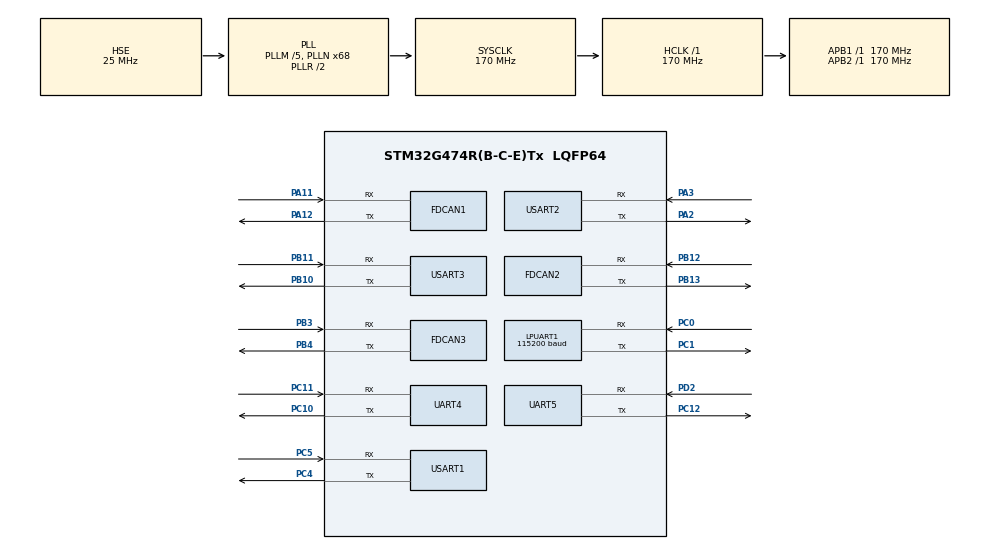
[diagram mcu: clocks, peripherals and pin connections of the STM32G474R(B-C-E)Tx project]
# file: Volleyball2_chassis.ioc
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Dma.LPUART1_RX.2.Direction=DMA_PERIPH_TO_MEMORY
Dma.LPUART1_RX.2.EventEnable=DISABLE
Dma.LPUART1_RX.2.Instance=DMA1_Channel5
Dma.LPUART1_RX.2.MemDataAlignment=DMA_MDATAALIGN_BYTE
Dma.LPUART1_RX.2.MemInc=DMA_MINC_ENABLE
Dma.LPUART1_RX.2.Mode=DMA_NORMAL
Dma.LPUART1_RX.2.PeriphDataAlignment=DMA_PDATAALIGN_BYTE
Dma.LPUART1_RX.2.PeriphInc=DMA_PINC_DISABLE
Dma.LPUART1_RX.2.Polarity=HAL_DMAMUX_REQ_GEN_RISING
Dma.LPUART1_RX.2.Priority=DMA_PRIORITY_LOW
Dma.LPUART1_RX.2.RequestNumber=1
Dma.LPUART1_RX.2.SignalID=NONE
Dma.LPUART1_RX.2.SyncEnable=DISABLE
Dma.LPUART1_RX.2.SyncPolarity=HAL_DMAMUX_SYNC_NO_EVENT
Dma.LPUART1_RX.2.SyncRequestNumber=1
Dma.LPUART1_RX.2.SyncSignalID=NONE
Dma.LPUART1_TX.3.Direction=DMA_MEMORY_TO_PERIPH
Dma.LPUART1_TX.3.EventEnable=DISABLE
Dma.LPUART1_TX.3.Instance=DMA1_Channel6
Dma.LPUART1_TX.3.MemDataAlignment=DMA_MDATAALIGN_BYTE
Dma.LPUART1_TX.3.MemInc=DMA_MINC_ENABLE
Dma.LPUART1_TX.3.Mode=DMA_NORMAL
Dma.LPUART1_TX.3.PeriphDataAlignment=DMA_PDATAALIGN_BYTE
Dma.LPUART1_TX.3.PeriphInc=DMA_PINC_DISABLE
Dma.LPUART1_TX.3.Polarity=HAL_DMAMUX_REQ_GEN_RISING
Dma.LPUART1_TX.3.Priority=DMA_PRIORITY_LOW
Dma.LPUART1_TX.3.RequestNumber=1
Dma.LPUART1_TX.3.SignalID=NONE
Dma.LPUART1_TX.3.SyncEnable=DISABLE
Dma.LPUART1_TX.3.SyncPolarity=HAL_DMAMUX_SYNC_NO_EVENT
Dma.LPUART1_TX.3.SyncRequestNumber=1
Dma.LPUART1_TX.3.SyncSignalID=NONE
Dma.Request0=USART1_RX
Dma.Request1=USART1_TX
Dma.Request2=LPUART1_RX
Dma.Request3=LPUART1_TX
Dma.Request4=UART5_RX
Dma.Request5=USART3_RX
Dma.Request6=USART3_TX
Dma.Request7=UART4_RX
Dma.UART4_RX.7.Direction=DMA_PERIPH_TO_MEMORY
Dma.UART4_RX.7.EventEnable=DISABLE
Dma.UART4_RX.7.Instance=DMA1_Channel8
Dma.UART4_RX.7.MemDataAlignment=DMA_MDATAALIGN_BYTE
Dma.UART4_RX.7.MemInc=DMA_MINC_ENABLE
Dma.UART4_RX.7.Mode=DMA_NORMAL
Dma.UART4_RX.7.PeriphDataAlignment=DMA_PDATAALIGN_BYTE
Dma.UART4_RX.7.PeriphInc=DMA_PINC_DISABLE
Dma.UART4_RX.7.Polarity=HAL_DMAMUX_REQ_GEN_RISING
Dma.UART4_RX.7.Priority=DMA_PRIORITY_LOW
Dma.UART4_RX.7.RequestNumber=1
Dma.UART4_RX.7.SignalID=NONE
Dma.UART4_RX.7.SyncEnable=DISABLE
Dma.UART4_RX.7.SyncPolarity=HAL_DMAMUX_SYNC_NO_EVENT
Dma.UART4_RX.7.SyncRequestNumber=1
Dma.UART4_RX.7.SyncSignalID=NONE
Dma.UART5_RX.4.Direction=DMA_PERIPH_TO_MEMORY
Dma.UART5_RX.4.EventEnable=DISABLE
Dma.UART5_RX.4.Instance=DMA1_Channel1
Dma.UART5_RX.4.MemDataAlignment=DMA_MDATAALIGN_BYTE
Dma.UART5_RX.4.MemInc=DMA_MINC_ENABLE
Dma.UART5_RX.4.Mode=DMA_NORMAL
Dma.UART5_RX.4.PeriphDataAlignment=DMA_PDATAALIGN_BYTE
Dma.UART5_RX.4.PeriphInc=DMA_PINC_DISABLE
Dma.UART5_RX.4.Polarity=HAL_DMAMUX_REQ_GEN_RISING
Dma.UART5_RX.4.Priority=DMA_PRIORITY_LOW
Dma.UART5_RX.4.RequestNumber=1
Dma.UART5_RX.4.SignalID=NONE
Dma.UART5_RX.4.SyncEnable=DISABLE
Dma.UART5_RX.4.SyncPolarity=HAL_DMAMUX_SYNC_NO_EVENT
Dma.UART5_RX.4.SyncRequestNumber=1
Dma.UART5_RX.4.SyncSignalID=NONE
Dma.USART1_RX.0.Direction=DMA_PERIPH_TO_MEMORY
Dma.USART1_RX.0.EventEnable=DISABLE
Dma.USART1_RX.0.Instance=DMA1_Channel3
Dma.USART1_RX.0.MemDataAlignment=DMA_MDATAALIGN_BYTE
Dma.USART1_RX.0.MemInc=DMA_MINC_ENABLE
Dma.USART1_RX.0.Mode=DMA_NORMAL
Dma.USART1_RX.0.PeriphDataAlignment=DMA_PDATAALIGN_BYTE
Dma.USART1_RX.0.PeriphInc=DMA_PINC_DISABLE
Dma.USART1_RX.0.Polarity=HAL_DMAMUX_REQ_GEN_RISING
Dma.USART1_RX.0.Priority=DMA_PRIORITY_LOW
Dma.USART1_RX.0.RequestNumber=1
Dma.USART1_RX.0.SignalID=NONE
Dma.USART1_RX.0.SyncEnable=DISABLE
Dma.USART1_RX.0.SyncPolarity=HAL_DMAMUX_SYNC_NO_EVENT
Dma.USART1_RX.0.SyncRequestNumber=1
Dma.USART1_RX.0.SyncSignalID=NONE
Dma.USART1_TX.1.Direction=DMA_MEMORY_TO_PERIPH
Dma.USART1_TX.1.EventEnable=DISABLE
Dma.USART1_TX.1.Instance=DMA1_Channel4
Dma.USART1_TX.1.MemDataAlignment=DMA_MDATAALIGN_BYTE
Dma.USART1_TX.1.MemInc=DMA_MINC_ENABLE
Dma.USART1_TX.1.Mode=DMA_NORMAL
Dma.USART1_TX.1.PeriphDataAlignment=DMA_PDATAALIGN_BYTE
Dma.USART1_TX.1.PeriphInc=DMA_PINC_DISABLE
Dma.USART1_TX.1.Polarity=HAL_DMAMUX_REQ_GEN_RISING
Dma.USART1_TX.1.Priority=DMA_PRIORITY_LOW
Dma.USART1_TX.1.RequestNumber=1
Dma.USART1_TX.1.SignalID=NONE
Dma.USART1_TX.1.SyncEnable=DISABLE
Dma.USART1_TX.1.SyncPolarity=HAL_DMAMUX_SYNC_NO_EVENT
Dma.USART1_TX.1.SyncRequestNumber=1
Dma.USART1_TX.1.SyncSignalID=NONE
Dma.USART3_RX.5.Direction=DMA_PERIPH_TO_MEMORY
Dma.USART3_RX.5.EventEnable=DISABLE
Dma.USART3_RX.5.Instance=DMA1_Channel2
Dma.USART3_RX.5.MemDataAlignment=DMA_MDATAALIGN_BYTE
Dma.USART3_RX.5.MemInc=DMA_MINC_ENABLE
Dma.USART3_RX.5.Mode=DMA_NORMAL
Dma.USART3_RX.5.PeriphDataAlignment=DMA_PDATAALIGN_BYTE
Dma.USART3_RX.5.PeriphInc=DMA_PINC_DISABLE
Dma.USART3_RX.5.Polarity=HAL_DMAMUX_REQ_GEN_RISING
Dma.USART3_RX.5.Priority=DMA_PRIORITY_LOW
Dma.USART3_RX.5.RequestNumber=1
Dma.USART3_RX.5.SignalID=NONE
Dma.USART3_RX.5.SyncEnable=DISABLE
Dma.USART3_RX.5.SyncPolarity=HAL_DMAMUX_SYNC_NO_EVENT
Dma.USART3_RX.5.SyncRequestNumber=1
Dma.USART3_RX.5.SyncSignalID=NONE
Dma.USART3_TX.6.Direction=DMA_MEMORY_TO_PERIPH
Dma.USART3_TX.6.EventEnable=DISABLE
Dma.USART3_TX.6.Instance=DMA1_Channel7
Dma.USART3_TX.6.MemDataAlignment=DMA_MDATAALIGN_BYTE
Dma.USART3_TX.6.MemInc=DMA_MINC_ENABLE
Dma.USART3_TX.6.Mode=DMA_NORMAL
Dma.USART3_TX.6.PeriphDataAlignment=DMA_PDATAALIGN_BYTE
Dma.USART3_TX.6.PeriphInc=DMA_PINC_DISABLE
Dma.USART3_TX.6.Polarity=HAL_DMAMUX_REQ_GEN_RISING
Dma.USART3_TX.6.Priority=DMA_PRIORITY_LOW
Dma.USART3_TX.6.RequestNumber=1
Dma.USART3_TX.6.SignalID=NONE
Dma.USART3_TX.6.SyncEnable=DISABLE
Dma.USART3_TX.6.SyncPolarity=HAL_DMAMUX_SYNC_NO_EVENT
Dma.USART3_TX.6.SyncRequestNumber=1
Dma.USART3_TX.6.SyncSignalID=NONE
FDCAN1.CalculateBaudRateNominal=1000000
FDCAN1.CalculateTimeBitNominal=1000
FDCAN1.CalculateTimeQuantumNominal=100.0
FDCAN1.DataPrescaler=8
FDCAN1.DataTimeSeg1=10
FDCAN1.DataTimeSeg2=5
FDCAN1.NominalPrescaler=17
FDCAN1.NominalTimeSeg1=6
FDCAN1.NominalTimeSeg2=3
FDCAN2.CalculateBaudRateNominal=1000000
FDCAN2.CalculateTimeBitNominal=1000
FDCAN2.CalculateTimeQuantumNominal=100.0
FDCAN2.DataPrescaler=8
FDCAN2.DataTimeSeg1=10
FDCAN2.DataTimeSeg2=5
FDCAN2.NominalPrescaler=17
FDCAN2.NominalTimeSeg1=6
FDCAN2.NominalTimeSeg2=3
FDCAN3.CalculateBaudRateNominal=1000000
FDCAN3.CalculateTimeBitNominal=1000
FDCAN3.CalculateTimeQuantumNominal=100.0
FDCAN3.DataPrescaler=8
FDCAN3.DataTimeSeg1=10
FDCAN3.DataTimeSeg2=5
FDCAN3.NominalPrescaler=17
FDCAN3.NominalTimeSeg1=6
FDCAN3.NominalTimeSeg2=3
LPUART1.BaudRate=115200
Mcu.Family=STM32G4
Mcu.Name=STM32G474R(B-C-E)Tx
Mcu.Package=LQFP64
NVIC.DMA1_Channel1_IRQn=true\:0\:0\:false\:false\:true\:false\:true\:true
NVIC.DMA1_Channel2_IRQn=true\:0\:0\:false\:false\:true\:false\:true\:true
NVIC.DMA1_Channel3_IRQn=true\:0\:0\:false\:false\:true\:false\:true\:true
NVIC.DMA1_Channel4_IRQn=true\:0\:0\:false\:false\:true\:false\:true\:true
NVIC.DMA1_Channel5_IRQn=true\:0\:0\:false\:false\:true\:false\:true\:true
NVIC.DMA1_Channel6_IRQn=true\:0\:0\:false\:false\:true\:false\:true\:true
NVIC.DMA1_Channel7_IRQn=true\:0\:0\:false\:false\:true\:false\:true\:true
NVIC.DMA1_Channel8_IRQn=true\:0\:0\:false\:false\:true\:false\:true\:true
NVIC.FDCAN1_IT0_IRQn=true\:0\:0\:false\:false\:true\:true\:true\:true
NVIC.FDCAN1_IT1_IRQn=true\:0\:0\:false\:false\:true\:true\:true\:true
NVIC.FDCAN2_IT0_IRQn=true\:0\:0\:false\:false\:true\:true\:true\:true
NVIC.FDCAN2_IT1_IRQn=true\:0\:0\:false\:false\:true\:true\:true\:true
NVIC.FDCAN3_IT0_IRQn=true\:0\:0\:false\:false\:true\:true\:true\:true
NVIC.FDCAN3_IT1_IRQn=true\:0\:0\:false\:false\:true\:true\:true\:true
NVIC.LPUART1_IRQn=true\:0\:0\:false\:false\:true\:true\:true\:true
NVIC.PriorityGroup=NVIC_PRIORITYGROUP_4
NVIC.UART4_IRQn=true\:0\:0\:false\:false\:true\:true\:true\:true
NVIC.UART5_IRQn=true\:0\:0\:false\:false\:true\:true\:true\:true
NVIC.USART1_IRQn=true\:0\:0\:false\:false\:true\:true\:true\:true
NVIC.USART2_IRQn=true\:0\:0\:false\:false\:true\:true\:true\:true
NVIC.USART3_IRQn=true\:0\:0\:false\:false\:true\:true\:true\:true
PA11.Mode=FDCAN_Activate
PA11.Signal=FDCAN1_RX
PA12.Mode=FDCAN_Activate
PA12.Signal=FDCAN1_TX
PA13.Mode=Serial_Wire
PA13.Signal=SYS_JTMS-SWDIO
PA14.Mode=Serial_Wire
PA14.Signal=SYS_JTCK-SWCLK
PA2.Mode=Asynchronous
PA2.Signal=USART2_TX
PA3.Mode=Asynchronous
PA3.Signal=USART2_RX
PB10.Mode=Asynchronous
PB10.Signal=USART3_TX
PB11.Mode=Asynchronous
PB11.Signal=USART3_RX
PB12.Mode=FDCAN_Activate
PB12.Signal=FDCAN2_RX
PB13.Mode=FDCAN_Activate
PB13.Signal=FDCAN2_TX
PB3.Mode=FDCAN_Activate
PB3.Signal=FDCAN3_RX
PB4.Mode=FDCAN_Activate
PB4.Signal=FDCAN3_TX
PC0.Mode=Asynchronous
PC0.Signal=LPUART1_RX
PC1.Mode=Asynchronous
PC1.Signal=LPUART1_TX
PC10.Mode=Asynchronous
PC10.Signal=UART4_TX
PC11.Mode=Asynchronous
PC11.Signal=UART4_RX
PC12.Mode=Asynchronous
PC12.Signal=UART5_TX
PC4.Mode=Asynchronous
PC4.Signal=USART1_TX
PC5.Mode=Asynchronous
PC5.Signal=USART1_RX
PD2.Mode=Asynchronous
PD2.Signal=UART5_RX
PF0-OSC_IN.Mode=HSE-External-Oscillator
PF0-OSC_IN.Signal=RCC_OSC_IN
PF1-OSC_OUT.Mode=HSE-External-Oscillator
PF1-OSC_OUT.Signal=RCC_OSC_OUT
ProjectManager.HeapSize=0x400
ProjectManager.StackSize=0x800
ProjectManager.TargetToolchain=MDK-ARM V5.32
RCC.ADC12Freq_Value=170000000
RCC.ADC345Freq_Value=170000000
RCC.AHBFreq_Value=170000000
RCC.APB1Freq_Value=170000000
RCC.APB1TimFreq_Value=170000000
RCC.APB2Freq_Value=170000000
RCC.APB2TimFreq_Value=170000000
RCC.CortexFreq_Value=170000000
RCC.EXTERNAL_CLOCK_VALUE=12288000
RCC.HCLKFreq_Value=170000000
RCC.HSE_VALUE=25000000
RCC.HSI48_VALUE=48000000
RCC.HSI_VALUE=16000000
RCC.LSE_VALUE=32768
RCC.PLLM=RCC_PLLM_DIV5
RCC.PLLN=68
RCC.PLLSourceVirtual=RCC_PLLSOURCE_HSE
RCC.SYSCLKFreq_VALUE=170000000
RCC.SYSCLKSource=RCC_SYSCLKSOURCE_PLLCLK
RCC.USBFreq_Value=170000000
RCC.VCOOutputFreq_Value=340000000
USART1.VirtualMode-Asynchronous=VM_ASYNC
USART2.VirtualMode-Asynchronous=VM_ASYNC
USART3.VirtualMode-Asynchronous=VM_ASYNC
VP_SYS_VS_DBSignals.Mode=DisableDeadBatterySignals
board=custom

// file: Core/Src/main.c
/* USER CODE BEGIN Header */
/**
  ******************************************************************************
  * @file           : main.c
  * @brief          : Main program body
  ******************************************************************************
  * @attention
  *
  * Copyright (c) 2026 STMicroelectronics.
  * All rights reserved.
  *
  * This software is licensed under terms that can be found in the LICENSE file
  * in the root directory of this software component.
  * If no LICENSE file comes with this software, it is provided AS-IS.
  *
  ******************************************************************************
  */
/* USER CODE END Header */
#include "main.h"
#include "dma.h"
#include "fdcan.h"
#include "usart.h"
#include "gpio.h"

/* USER CODE BEGIN Includes */
#include "fdcan_bsp.h"
#include "chassis_task.h"
#include "control.h"    // 包含 STEERING_GEAR_RATIO
#include "dji_motor.h"
#include "vesc.h"
#include <stdio.h>
#include <math.h>
/* USER CODE END Includes */

/* USER CODE BEGIN PV */
/* ----------------- 1. 定义轨迹控制结构体 ----------------- */
typedef struct {
    float current_angle;    // 虚拟轴当前的实时角度 (舵轮输出轴角度，度)
    float target_angle;     // 最终目标角度
    float velocity_deg_ms;  // 速度：度/毫秒
    uint32_t last_tick;     // 上次更新时间
} Virtual_Axis_t;

// 初始化：起始0度，目标0度，速度 0.05度/ms (50度/秒)
Virtual_Axis_t v_axis = {0.0f, 0.0f, 0.05f, 0};

/* ----------------- 2. 轨迹更新与同步分发函数 ----------------- */
// 请在主循环中高频调用 (例如 1ms 一次)
void Update_Virtual_Axis(void)
{
    uint32_t now = HAL_GetTick();

    // 简单限频，防止调用过快
    if (now - v_axis.last_tick < 1) return;
    v_axis.last_tick = now;

    // --- A. 轨迹插补 (Ramp) ---
    float error = v_axis.target_angle - v_axis.current_angle;

    if (fabs(error) <= v_axis.velocity_deg_ms) {
        v_axis.current_angle = v_axis.target_angle;
    }
    else {
        if (error > 0) v_axis.current_angle += v_axis.velocity_deg_ms;
        else           v_axis.current_angle -= v_axis.velocity_deg_ms;
    }

    // --- B. 同步分发给 3 个舵向电机 ---
    DJI_Motor_Instance* m0 = dji_motor_get_instance(0); // Wheel 1
    DJI_Motor_Instance* m1 = dji_motor_get_instance(1); // Wheel 2
    DJI_Motor_Instance* m2 = dji_motor_get_instance(2); // Wheel 3

    if (m0 && m1 && m2)
    {
        // 1. 考虑减速比：电机轴角度 = 输出轴角度 * 减速比
        // STEERING_GEAR_RATIO 在 control.h 中定义 (例如 36.0f)
        float motor_shaft_angle = v_axis.current_angle * STEERING_GEAR_RATIO;

        // 2. 转换为编码器数值
        int32_t encoder_pos = dji_degree2encoder(motor_shaft_angle);

        // 3. 同步设置 (正向同步)
        // 假设所有电机安装方向一致，如果某个电机反了，请在对应行加负号
        dji_motor_set_location(m0, encoder_pos);
        dji_motor_set_location(m1, encoder_pos);
        dji_motor_set_location(m2, encoder_pos);
    }
}/* USER CODE END PV */

void SystemClock_Config(void);
/* USER CODE BEGIN PFP */
uint32_t time[4]={0};
float i = 0.0f;
int fputc(int ch, FILE *f)
{
	HAL_UART_Transmit(&huart4,(uint8_t *)&ch,1,HAL_MAX_DELAY );
	return ch;
}
/* USER CODE END PFP */

int main(void)
{

  /* MCU Configuration--------------------------------------------------------*/

  /* Reset of all peripherals, Initializes the Flash interface and the Systick. */
  HAL_Init();

  /* Configure the system clock */
  SystemClock_Config();

  /* Initialize all configured peripherals */
  MX_GPIO_Init();
  MX_DMA_Init();
  MX_FDCAN1_Init();
  MX_FDCAN2_Init();
  MX_FDCAN3_Init();
  MX_UART5_Init();
  MX_USART1_UART_Init();
  MX_USART2_UART_Init();
  MX_USART3_UART_Init();
  MX_LPUART1_UART_Init();
  MX_UART4_Init();
  /* USER CODE BEGIN 2 */
// 1. 初始化 BSP 和 协议层
  fdcan_bsp_init();
  dji_motors_init(); // 初始化 3 个 DJI 电机
  Vesc_init();
  Chassis_Init();

  // 2. 开启 CAN 硬件
  fdcan_bsp_start(&hfdcan1);
  fdcan_bsp_start(&hfdcan2);
  fdcan_bsp_start(&hfdcan3);

  uint32_t test_timer = 0;
  int state = 0;
  time[0] = HAL_GetTick();
	/* USER CODE END 2 */

  /* Infinite loop */
  while (1)
  {

    /* USER CODE BEGIN 3 */
		time[0] = HAL_GetTick();

    // 1. 高频执行轨迹更新 (模拟 1kHz 任务)
    Update_Virtual_Axis();

    // 2. 业务逻辑：每 5 秒切换一次目标角度，测试同步效果
    if (HAL_GetTick() - test_timer > 5000)
    {
        test_timer = HAL_GetTick();

        // 状态机：0度 -> 90度 -> 0度 -> -45度 ...
        switch(state) {
            case 0: v_axis.target_angle = 90.0f;  break; // 统一转到 90度
            case 1: v_axis.target_angle = 0.0f;   break; // 回零
            case 2: v_axis.target_angle = -90.0f; break; // 统一转到 -90度
            case 3: v_axis.target_angle = 0.0f;   break; // 回零
        }
        state = (state + 1) % 4;

        printf("State Changed: Target = %.1f\r\n", v_axis.target_angle);
    }

    // 可选：周期性打印调试信息
    if(time[0] - time[2] > 200) {
        // printf("Current: %.1f\r\n", v_axis.current_angle);
        time[2] = time[0];
    }
		/* USER CODE END 3 */
}
}
void SystemClock_Config(void)
{
  RCC_OscInitTypeDef RCC_OscInitStruct = {0};
  RCC_ClkInitTypeDef RCC_ClkInitStruct = {0};

  /** Configure the main internal regulator output voltage
  */
  HAL_PWREx_ControlVoltageScaling(PWR_REGULATOR_VOLTAGE_SCALE1_BOOST);

  /** Initializes the RCC Oscillators according to the specified parameters
  * in the RCC_OscInitTypeDef structure.
  */
  RCC_OscInitStruct.OscillatorType = RCC_OSCILLATORTYPE_HSE;
  RCC_OscInitStruct.HSEState = RCC_HSE_ON;
  RCC_OscInitStruct.PLL.PLLState = RCC_PLL_ON;
  RCC_OscInitStruct.PLL.PLLSource = RCC_PLLSOURCE_HSE;
  RCC_OscInitStruct.PLL.PLLM = RCC_PLLM_DIV5;
  RCC_OscInitStruct.PLL.PLLN = 68;
  RCC_OscInitStruct.PLL.PLLP = RCC_PLLP_DIV2;
  RCC_OscInitStruct.PLL.PLLQ = RCC_PLLQ_DIV2;
  RCC_OscInitStruct.PLL.PLLR = RCC_PLLR_DIV2;
  if (HAL_RCC_OscConfig(&RCC_OscInitStruct) != HAL_OK)
  {
    Error_Handler();
  }

  /** Initializes the CPU, AHB and APB buses clocks
  */
  RCC_ClkInitStruct.ClockType = RCC_CLOCKTYPE_HCLK|RCC_CLOCKTYPE_SYSCLK
                              |RCC_CLOCKTYPE_PCLK1|RCC_CLOCKTYPE_PCLK2;
  RCC_ClkInitStruct.SYSCLKSource = RCC_SYSCLKSOURCE_PLLCLK;
  RCC_ClkInitStruct.AHBCLKDivider = RCC_SYSCLK_DIV1;
  RCC_ClkInitStruct.APB1CLKDivider = RCC_HCLK_DIV1;
  RCC_ClkInitStruct.APB2CLKDivider = RCC_HCLK_DIV1;

  if (HAL_RCC_ClockConfig(&RCC_ClkInitStruct, FLASH_LATENCY_4) != HAL_OK)
  {
    Error_Handler();
  }
}

void Error_Handler(void)
{
  __disable_irq();
  while (1)
  {
  }
}
